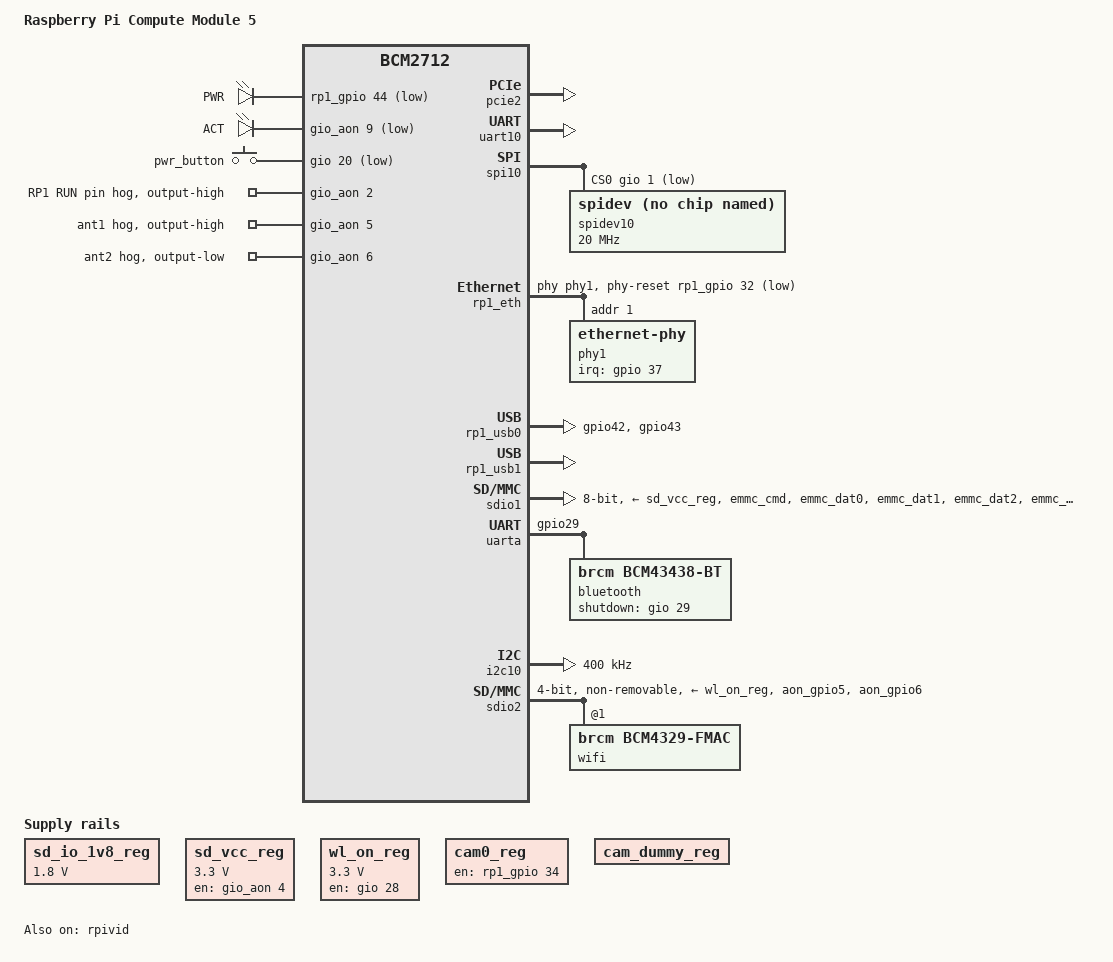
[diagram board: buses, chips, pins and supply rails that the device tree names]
// SPDX-License-Identifier: GPL-2.0

#include <dt-bindings/gpio/gpio.h>
#include <dt-bindings/clock/rp1.h>
#include <dt-bindings/interrupt-controller/irq.h>
#include <dt-bindings/mfd/rp1.h>
#include <dt-bindings/pwm/pwm.h>
#include <dt-bindings/reset/raspberrypi,firmware-reset.h>

#include "bcm2712-ds.dtsi"

/ {
	compatible = "raspberrypi,5-compute-module", "brcm,bcm2712";
	model = "Raspberry Pi Compute Module 5";

	/* Will be filled by the bootloader */
	memory@0 {
		device_type = "memory";
		reg = <0 0 0x28000000>;
	};

	leds: leds {
		compatible = "gpio-leds";

		led_pwr: led-pwr {
			label = "PWR";
			gpios = <&rp1_gpio 44 GPIO_ACTIVE_LOW>;
			default-state = "off";
			linux,default-trigger = "none";
		};

		led_act: led-act {
			label = "ACT";
			gpios = <&gio_aon 9 GPIO_ACTIVE_LOW>;
			default-state = "off";
			linux,default-trigger = "mmc0";
		};
	};

	sd_io_1v8_reg: sd_io_1v8_reg {
		compatible = "regulator-fixed";
		regulator-name = "vdd-sd-io";
		regulator-min-microvolt = <1800000>;
		regulator-max-microvolt = <1800000>;
		regulator-always-on;
	};

	sd_vcc_reg: sd_vcc_reg {
		compatible = "regulator-fixed";
		regulator-name = "vcc-sd";
		regulator-min-microvolt = <3300000>;
		regulator-max-microvolt = <3300000>;
		regulator-boot-on;
		enable-active-high;
		gpios = <&gio_aon 4 GPIO_ACTIVE_HIGH>;
		status = "okay";
	};

	wl_on_reg: wl_on_reg {
		compatible = "regulator-fixed";
		regulator-name = "wl-on-regulator";
		regulator-min-microvolt = <3300000>;
		regulator-max-microvolt = <3300000>;
		pinctrl-0 = <&wl_on_pins>;
		pinctrl-names = "default";

		gpio = <&gio 28 GPIO_ACTIVE_HIGH>;

		startup-delay-us = <150000>;
		enable-active-high;
	};

	cam1_clk: cam1_clk {
		compatible = "fixed-clock";
		#clock-cells = <0>;
		status = "disabled";
	};

	cam0_clk: cam0_clk {
		compatible = "fixed-clock";
		#clock-cells = <0>;
		status = "disabled";
	};

	cam0_reg: cam0_reg {
		compatible = "regulator-fixed";
		regulator-name = "cam0_reg";
		enable-active-high;
		status = "okay";
		gpio = <&rp1_gpio 34 0>; // CD0_IO0_MICCLK, to CAM_GPIO on connector
	};

	cam_dummy_reg: cam_dummy_reg {
		compatible = "regulator-fixed";
		regulator-name = "cam-dummy-reg";
		status = "okay";
	};

	dummy: dummy {
		// A target for unwanted overlay fragments
	};


	// A few extra labels to keep overlays happy

	i2c0if: i2c0if {};
	i2c0mux: i2c0mux {};
};

rp1_target: &pcie2 {
	brcm,enable-mps-rcb;
	brcm,vdm-qos-map = <0xbbaa9888>;
	aspm-no-l0s;
	status = "okay";
};

// Add some labels to 2712 device

// The system UART
&uart10 { status = "okay"; };

// The system SPI for the bootloader EEPROM
&spi10 { status = "okay"; };

#include "rp1.dtsi"

&rp1 {
	// PCIe address space layout:
	// 00_00000000-00_00xxxxxx = RP1 peripherals
	// 10_00000000-1x_xxxxxxxx = up to 64GB system RAM

	// outbound access aimed at PCIe 0_00xxxxxx -> RP1 c0_40xxxxxx
	// This is the RP1 peripheral space
	ranges = <0xc0 0x40000000
		  0x02000000 0x00 0x00000000
		  0x00 0x00410000>;

	dma-ranges =
	// inbound RP1 1x_xxxxxxxx -> PCIe 1x_xxxxxxxx
		     <0x10 0x00000000
		      0x43000000 0x10 0x00000000
		      0x10 0x00000000>,

	// inbound RP1 c0_40xxxxxx -> PCIe 00_00xxxxxx
	// This allows the RP1 DMA controller to address RP1 hardware
		     <0xc0 0x40000000
		      0x02000000 0x0 0x00000000
		      0x0 0x00410000>,

	// inbound RP1 0x_xxxxxxxx -> PCIe 1x_xxxxxxxx
		     <0x00 0x00000000
		      0x02000000 0x10 0x00000000
		      0x10 0x00000000>;
};

// Expose RP1 nodes as system nodes with labels

&rp1_dma  {
	status = "okay";
};

&rp1_eth {
	status = "okay";
	phy-handle = <&phy1>;
	phy-reset-gpios = <&rp1_gpio 32 GPIO_ACTIVE_LOW>;
	phy-reset-duration = <5>;

	phy1: ethernet-phy@1 {
		reg = <0x1>;
		brcm,powerdown-enable;
		interrupt-parent = <&gpio>;
		interrupts = <37 IRQ_TYPE_LEVEL_LOW>;
	};
};

gpio: &rp1_gpio {
	status = "okay";
};

aux: &dummy {};

&rp1_usb0 {
	pinctrl-0 = <&usb_vbus_pins>;
	pinctrl-names = "default";
	status = "okay";
};

&rp1_usb1 {
	status = "okay";
};

#include "bcm2712-rpi.dtsi"

cam1_reg: &cam0_reg { // Shares CAM_GPIO with cam0_reg
};

csi0: &rp1_csi0 { };
csi1: &rp1_csi1 { };
dsi0: &rp1_dsi0 { };
dsi1: &rp1_dsi1 { };
dpi: &rp1_dpi { };
vec: &rp1_vec { };
dpi_gpio0:              &rp1_dpi_24bit_gpio0        { };
dpi_gpio1:              &rp1_dpi_24bit_gpio2        { };
dpi_18bit_cpadhi_gpio0: &rp1_dpi_18bit_cpadhi_gpio0 { };
dpi_18bit_cpadhi_gpio2: &rp1_dpi_18bit_cpadhi_gpio2 { };
dpi_18bit_gpio0:        &rp1_dpi_18bit_gpio0        { };
dpi_18bit_gpio2:        &rp1_dpi_18bit_gpio2        { };
dpi_16bit_cpadhi_gpio0: &rp1_dpi_16bit_cpadhi_gpio0 { };
dpi_16bit_cpadhi_gpio2: &rp1_dpi_16bit_cpadhi_gpio2 { };
dpi_16bit_gpio0:        &rp1_dpi_16bit_gpio0        { };
dpi_16bit_gpio2:        &rp1_dpi_16bit_gpio2        { };

/* Add the IOMMUs for some RP1 bus masters */

&csi0 {
	iommus = <&iommu5>;
};

&csi1 {
	iommus = <&iommu5>;
};

&dsi0 {
	iommus = <&iommu5>;
};

&dsi1 {
	iommus = <&iommu5>;
};

&dpi {
	iommus = <&iommu5>;
};

&vec {
	iommus = <&iommu5>;
};

&ddc0 {
	status = "disabled";
};

&ddc1 {
	status = "disabled";
};

&hdmi0 {
	clocks = <&firmware_clocks 13>, <&firmware_clocks 14>, <&dvp 0>, <&clk_27MHz>;
	clock-names = "hdmi", "bvb", "audio", "cec";
	status = "disabled";
};

&hdmi1 {
	clocks = <&firmware_clocks 13>, <&firmware_clocks 14>, <&dvp 1>, <&clk_27MHz>;
	clock-names = "hdmi", "bvb", "audio", "cec";
	status = "disabled";
};

&hvs {
	clocks = <&firmware_clocks 4>, <&firmware_clocks 16>;
	clock-names = "core", "disp";
};

&mop {
	status = "disabled";
};

&moplet {
	status = "disabled";
};

&pixelvalve0 {
	status = "disabled";
};

&pixelvalve1 {
	status = "disabled";
};

&disp_intr {
	status = "disabled";
};

/* SDIO1 is used to drive the eMMC/SD card */
&sdio1 {
	pinctrl-0 = <&emmc_cmddat_pulls>, <&emmc_ds_pull>;
	pinctrl-names = "default";
	vqmmc-supply = <&sd_io_1v8_reg>;
	vmmc-supply = <&sd_vcc_reg>;
	bus-width = <8>;
	sd-uhs-sdr50;
	sd-uhs-ddr50;
	sd-uhs-sdr104;
	mmc-hs200-1_8v;
	mmc-hs400-1_8v;
	mmc-hs400-enhanced-strobe;
	broken-cd;
	supports-cqe = <1>;
	status = "okay";
};

&pinctrl_aon {
	ant_pins: ant_pins {
		function = "gpio";
		pins = "aon_gpio5", "aon_gpio6";
	};

	/* Slight hack - only one PWM pin (status LED) is usable */
	aon_pwm_1pin: aon_pwm_1pin {
		function = "aon_pwm";
		pins = "aon_gpio9";
	};
};

&pinctrl {
	pwr_button_pins: pwr_button_pins {
		function = "gpio";
		pins = "gpio20";
		bias-pull-up;
	};

	wl_on_pins: wl_on_pins {
		function = "gpio";
		pins = "gpio28";
	};

	bt_shutdown_pins: bt_shutdown_pins {
		function = "gpio";
		pins = "gpio29";
	};

	emmc_ds_pull: emmc_ds_pull {
		pins = "emmc_ds";
		bias-pull-down;
	};

	emmc_cmddat_pulls: emmc_cmddat_pulls {
		pins = "emmc_cmd", "emmc_dat0", "emmc_dat1", "emmc_dat2", "emmc_dat3",
		       "emmc_dat4", "emmc_dat5", "emmc_dat6", "emmc_dat7";
		bias-pull-up;
	};
};

/* uarta communicates with the BT module */
&uarta {
	uart-has-rtscts;
	auto-flow-control;
	status = "okay";
	clock-frequency = <96000000>;
	pinctrl-0 = <&uarta_24_pins &bt_shutdown_pins>;
	pinctrl-names = "default";

	bluetooth: bluetooth {
		compatible = "brcm,bcm43438-bt";
		max-speed = <3000000>;
		shutdown-gpios = <&gio 29 GPIO_ACTIVE_HIGH>;
		local-bd-address = [ 00 00 00 00 00 00 ];
	};
};

&i2c10 {
	clock-frequency = <400000>;
	pinctrl-0 = <&i2c3_m4_agpio0_pins>;
	pinctrl-names = "default";
};

/ {
	fan: cooling_fan {
		status = "disabled";
		compatible = "pwm-fan";
		#cooling-cells = <2>;
		cooling-min-state = <0>;
		cooling-max-state = <3>;
		cooling-levels = <0 75 125 175 250>;
		pwms = <&rp1_pwm1 3 41566 PWM_POLARITY_INVERTED>;
		rpm-regmap = <&rp1_pwm1>;
		rpm-offset = <0x3c>;
	};

	pwr_button {
		compatible = "gpio-keys";

		pinctrl-names = "default";
		pinctrl-0 = <&pwr_button_pins>;
		status = "okay";

		pwr_key: pwr {
			label = "pwr_button";
			// linux,code = <205>; // KEY_SUSPEND
			linux,code = <116>; // KEY_POWER
			gpios = <&gio 20 GPIO_ACTIVE_LOW>;
			debounce-interval = <50>; // ms
		};
	};
};

&usb {
	power-domains = <&power RPI_POWER_DOMAIN_USB>;
};

/* SDIO2 drives the WLAN interface */
&sdio2 {
	pinctrl-0 = <&sdio2_30_pins>, <&ant_pins>;
	pinctrl-names = "default";
	bus-width = <4>;
	vmmc-supply = <&wl_on_reg>;
	sd-uhs-ddr50;
	non-removable;
	status = "okay";
	#address-cells = <1>;
	#size-cells = <0>;

	wifi: wifi@1 {
		reg = <1>;
		compatible = "brcm,bcm4329-fmac";
		local-mac-address = [00 00 00 00 00 00];
	};
};

&rpivid {
	status = "okay";
};

&pinctrl {
	spi10_gpio2: spi10_gpio2 {
		function = "vc_spi0";
		pins = "gpio2", "gpio3", "gpio4";
		bias-disable;
	};

	spi10_cs_gpio1: spi10_cs_gpio1 {
		function = "gpio";
		pins = "gpio1";
		bias-pull-up;
	};
};

spi10_pins: &spi10_gpio2 {};
spi10_cs_pins: &spi10_cs_gpio1 {};

&spi10 {
	pinctrl-names = "default";
	cs-gpios = <&gio 1 1>;
	pinctrl-0 = <&spi10_pins &spi10_cs_pins>;

	spidev10: spidev@0 {
		compatible = "spidev";
		reg = <0>;	/* CE0 */
		#address-cells = <1>;
		#size-cells = <0>;
		spi-max-frequency = <20000000>;
		status = "okay";
	};
};

// =============================================
// Board specific stuff here

&gio_aon {
	// Don't use GIO_AON as an interrupt controller because it will
	// clash with the firmware monitoring the PMIC interrupt via the VPU.

	/delete-property/ interrupt-controller;
	/delete-property/ #interrupt-cells;
};

&main_aon_irq {
	// Don't use the MAIN_AON_IRQ interrupt controller because it will
	// clash with the firmware monitoring the PMIC interrupt via the VPU.

	status = "disabled";
};

&rp1_pwm1 {
	status = "disabled";
	pinctrl-0 = <&rp1_pwm1_gpio45>;
	pinctrl-names = "default";
};

&thermal_trips {
	cpu_tepid: cpu-tepid {
		temperature = <50000>;
		hysteresis = <5000>;
		type = "active";
	};

	cpu_warm: cpu-warm {
		temperature = <60000>;
		hysteresis = <5000>;
		type = "active";
	};

	cpu_hot: cpu-hot {
		temperature = <67500>;
		hysteresis = <5000>;
		type = "active";
	};

	cpu_vhot: cpu-vhot {
		temperature = <75000>;
		hysteresis = <5000>;
		type = "active";
	};
};

&cooling_maps {
	tepid {
		trip = <&cpu_tepid>;
		cooling-device = <&fan 1 1>;
	};

	warm {
		trip = <&cpu_warm>;
		cooling-device = <&fan 2 2>;
	};

	hot {
		trip = <&cpu_hot>;
		cooling-device = <&fan 3 3>;
	};

	vhot {
		trip = <&cpu_vhot>;
		cooling-device = <&fan 4 4>;
	};

	melt {
		trip = <&cpu_crit>;
		cooling-device = <&fan 4 4>;
	};
};

&gio {
	// The GPIOs above 35 are not used on Pi 5, so shrink the upper bank
	// to reduce the clutter in gpioinfo/pinctrl
	brcm,gpio-bank-widths = <32 4>;

	gpio-line-names =
		"-", // GPIO_000
		"2712_BOOT_CS_N", // GPIO_001
		"2712_BOOT_MISO", // GPIO_002
		"2712_BOOT_MOSI", // GPIO_003
		"2712_BOOT_SCLK", // GPIO_004
		"-", // GPIO_005
		"-", // GPIO_006
		"-", // GPIO_007
		"-", // GPIO_008
		"-", // GPIO_009
		"-", // GPIO_010
		"-", // GPIO_011
		"-", // GPIO_012
		"-", // GPIO_013
		"-", // GPIO_014
		"-", // GPIO_015
		"-", // GPIO_016
		"-", // GPIO_017
		"-", // GPIO_018
		"-", // GPIO_019
		"PWR_GPIO", // GPIO_020
		"2712_G21_FS", // GPIO_021
		"-", // GPIO_022
		"-", // GPIO_023
		"BT_RTS", // GPIO_024
		"BT_CTS", // GPIO_025
		"BT_TXD", // GPIO_026
		"BT_RXD", // GPIO_027
		"WL_ON", // GPIO_028
		"BT_ON", // GPIO_029
		"WIFI_SDIO_CLK", // GPIO_030
		"WIFI_SDIO_CMD", // GPIO_031
		"WIFI_SDIO_D0", // GPIO_032
		"WIFI_SDIO_D1", // GPIO_033
		"WIFI_SDIO_D2", // GPIO_034
		"WIFI_SDIO_D3"; // GPIO_035
};

&gio_aon {
	gpio-line-names =
		"RP1_SDA", // AON_GPIO_00
		"RP1_SCL", // AON_GPIO_01
		"RP1_RUN", // AON_GPIO_02
		"SD_IOVDD_SEL", // AON_GPIO_03
		"SD_PWR_ON", // AON_GPIO_04
		"ANT1", // AON_GPIO_05
		"ANT2", // AON_GPIO_06
		"-", // AON_GPIO_07
		"2712_WAKE", // AON_GPIO_08
		"2712_STAT_LED", // AON_GPIO_09
		"-", // AON_GPIO_10
		"-", // AON_GPIO_11
		"PMIC_INT", // AON_GPIO_12
		"UART_TX_FS", // AON_GPIO_13
		"UART_RX_FS", // AON_GPIO_14
		"-", // AON_GPIO_15
		"-", // AON_GPIO_16

		// Pad bank0 out to 32 entries
		"", "", "", "", "", "", "", "", "", "", "", "", "", "", "",

		"HDMI0_SCL", // AON_SGPIO_00
		"HDMI0_SDA", // AON_SGPIO_01
		"HDMI1_SCL", // AON_SGPIO_02
		"HDMI1_SDA", // AON_SGPIO_03
		"PMIC_SCL", // AON_SGPIO_04
		"PMIC_SDA"; // AON_SGPIO_05

	rp1_run_hog {
		gpio-hog;
		gpios = <2 GPIO_ACTIVE_HIGH>;
		output-high;
		line-name = "RP1 RUN pin";
	};

	ant1: ant1-hog {
		gpio-hog;
		gpios = <5 GPIO_ACTIVE_HIGH>;
		/* internal antenna enabled */
		output-high;
		line-name = "ant1";
	};

	ant2: ant2-hog {
		gpio-hog;
		gpios = <6 GPIO_ACTIVE_HIGH>;
		/* external antenna disabled */
		output-low;
		line-name = "ant2";
	};
};

&rp1_gpio {
	gpio-line-names =
		"ID_SDA", // GPIO0
		"ID_SCL", // GPIO1
		"GPIO2", // GPIO2
		"GPIO3", // GPIO3
		"GPIO4", // GPIO4
		"GPIO5", // GPIO5
		"GPIO6", // GPIO6
		"GPIO7", // GPIO7
		"GPIO8", // GPIO8
		"GPIO9", // GPIO9
		"GPIO10", // GPIO10
		"GPIO11", // GPIO11
		"GPIO12", // GPIO12
		"GPIO13", // GPIO13
		"GPIO14", // GPIO14
		"GPIO15", // GPIO15
		"GPIO16", // GPIO16
		"GPIO17", // GPIO17
		"GPIO18", // GPIO18
		"GPIO19", // GPIO19
		"GPIO20", // GPIO20
		"GPIO21", // GPIO21
		"GPIO22", // GPIO22
		"GPIO23", // GPIO23
		"GPIO24", // GPIO24
		"GPIO25", // GPIO25
		"GPIO26", // GPIO26
		"GPIO27", // GPIO27

		"PCIE_PWR_EN", // GPIO28
		"FAN_TACH", // GPIO29
		"HOST_SDA", // GPIO30
		"HOST_SCL", // GPIO31
		"ETH_RST_N", // GPIO32
		"PCIE_DET_WAKE", // GPIO33

		"CD0_IO0_MICCLK", // GPIO34
		"CD0_IO0_MICDAT0", // GPIO35
		"RP1_PCIE_CLKREQ_N", // GPIO36
		"ETH_IRQ_N", // GPIO37
		"SDA0", // GPIO38
		"SCL0", // GPIO39
		"-", // GPIO40
		"-", // GPIO41
		"USB_VBUS_EN", // GPIO42
		"-", // GPIO43
		"RP1_STAT_LED", // GPIO44
		"FAN_PWM", // GPIO45
		"-", // GPIO46
		"2712_WAKE", // GPIO47
		"-", // GPIO48
		"-", // GPIO49
		"-", // GPIO50
		"-", // GPIO51
		"-", // GPIO52
		"-"; // GPIO53

	usb_vbus_pins: usb_vbus_pins {
		function = "vbus1";
		pins = "gpio42", "gpio43";
	};
};

/ {
	__overrides__ {
		ant1 =  <&ant1>,"output-high?=on",
			<&ant1>, "output-low?=off",
			<&ant2>, "output-high?=off",
			<&ant2>, "output-low?=on";
		ant2 =  <&ant1>,"output-high?=off",
			<&ant1>, "output-low?=on",
			<&ant2>, "output-high?=on",
			<&ant2>, "output-low?=off";
		noant = <&ant1>,"output-high?=off",
			<&ant1>, "output-low?=on",
			<&ant2>, "output-high?=off",
			<&ant2>, "output-low?=on";
		noanthogs = <&ant1>,"status=disabled",
			<&ant2>, "status=disabled";
		sd_cqe = <&sdio1>, "supports-cqe:0";
	};
};
